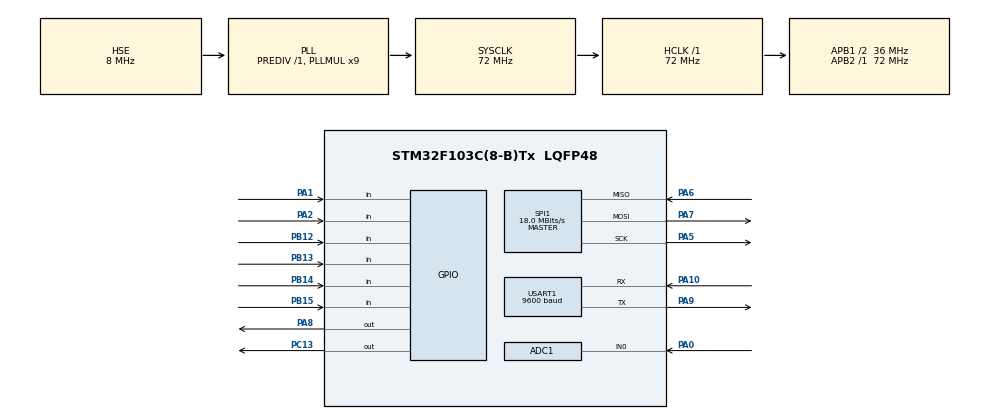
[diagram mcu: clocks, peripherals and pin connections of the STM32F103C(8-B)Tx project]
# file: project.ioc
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ADC1.Channel-0\#ChannelRegularConversion=ADC_CHANNEL_0
ADC1.ContinuousConvMode=ENABLE
ADC1.NbrOfConversionFlag=1
ADC1.Rank-0\#ChannelRegularConversion=1
ADC1.SamplingTime-0\#ChannelRegularConversion=ADC_SAMPLETIME_7CYCLES_5
ADC1.master=1
Dma.Request0=SPI1_TX
Dma.SPI1_TX.0.Direction=DMA_MEMORY_TO_PERIPH
Dma.SPI1_TX.0.Instance=DMA1_Channel3
Dma.SPI1_TX.0.MemDataAlignment=DMA_MDATAALIGN_BYTE
Dma.SPI1_TX.0.MemInc=DMA_MINC_ENABLE
Dma.SPI1_TX.0.Mode=DMA_NORMAL
Dma.SPI1_TX.0.PeriphDataAlignment=DMA_PDATAALIGN_BYTE
Dma.SPI1_TX.0.PeriphInc=DMA_PINC_DISABLE
Dma.SPI1_TX.0.Priority=DMA_PRIORITY_MEDIUM
Mcu.Family=STM32F1
Mcu.Name=STM32F103C(8-B)Tx
Mcu.Package=LQFP48
NVIC.ADC1_2_IRQn=true\:0\:0\:false\:false\:true\:true\:true
NVIC.DMA1_Channel3_IRQn=true\:0\:0\:true\:false\:true\:true\:true
NVIC.FLASH_IRQn=true\:0\:0\:false\:false\:true\:true\:true
NVIC.PriorityGroup=NVIC_PRIORITYGROUP_4
NVIC.RCC_IRQn=true\:0\:0\:false\:false\:true\:true\:false
NVIC.SPI1_IRQn=true\:0\:0\:true\:false\:true\:true\:true
NVIC.TIM2_IRQn=true\:1\:0\:true\:false\:true\:true\:true
NVIC.USART1_IRQn=true\:0\:0\:false\:false\:true\:true\:true
PA0-WKUP.Signal=ADCx_IN0
PA1.Signal=GPIO_Input
PA10.Mode=Asynchronous
PA10.Signal=USART1_RX
PA13.Mode=Serial_Wire
PA13.Signal=SYS_JTMS-SWDIO
PA14.Mode=Serial_Wire
PA14.Signal=SYS_JTCK-SWCLK
PA2.Signal=GPIO_Input
PA5.Mode=Full_Duplex_Master
PA5.Signal=SPI1_SCK
PA6.Mode=Full_Duplex_Master
PA6.Signal=SPI1_MISO
PA7.Mode=Full_Duplex_Master
PA7.Signal=SPI1_MOSI
PA8.Signal=GPIO_Output
PA9.Mode=Asynchronous
PA9.Signal=USART1_TX
PB12.GPIO_PuPd=GPIO_PULLUP
PB12.Signal=GPIO_Input
PB13.GPIO_PuPd=GPIO_PULLUP
PB13.Signal=GPIO_Input
PB14.GPIO_PuPd=GPIO_PULLUP
PB14.Signal=GPIO_Input
PB15.GPIO_PuPd=GPIO_PULLUP
PB15.Signal=GPIO_Input
PC13-TAMPER-RTC.Signal=GPIO_Output
PC14-OSC32_IN.Mode=LSE-External-Oscillator
PC14-OSC32_IN.Signal=RCC_OSC32_IN
PC15-OSC32_OUT.Mode=LSE-External-Oscillator
PC15-OSC32_OUT.Signal=RCC_OSC32_OUT
PD0-OSC_IN.Mode=HSE-External-Oscillator
PD0-OSC_IN.Signal=RCC_OSC_IN
PD1-OSC_OUT.Mode=HSE-External-Oscillator
PD1-OSC_OUT.Signal=RCC_OSC_OUT
ProjectManager.HeapSize=0x200
ProjectManager.StackSize=0x400
ProjectManager.TargetToolchain=MDK-ARM V5
RCC.ADCPresc=RCC_ADCPCLK2_DIV6
RCC.AHBFreq_Value=72000000
RCC.APB1CLKDivider=RCC_HCLK_DIV2
RCC.APB1Freq_Value=36000000
RCC.APB1TimFreq_Value=72000000
RCC.APB2Freq_Value=72000000
RCC.APB2TimFreq_Value=72000000
RCC.EnbaleCSS=true
RCC.HCLKFreq_Value=72000000
RCC.PLLMUL=RCC_PLL_MUL9
RCC.PLLSourceVirtual=RCC_PLLSOURCE_HSE
RCC.SYSCLKFreq_VALUE=72000000
RCC.SYSCLKSource=RCC_SYSCLKSOURCE_PLLCLK
RCC.USBFreq_Value=72000000
SH.ADCx_IN0.0=ADC1_IN0,IN0
SPI1.BaudRatePrescaler=SPI_BAUDRATEPRESCALER_4
SPI1.CalculateBaudRate=18.0 MBits/s
SPI1.Direction=SPI_DIRECTION_2LINES
SPI1.Mode=SPI_MODE_MASTER
SPI1.VirtualType=VM_MASTER
TIM2.Period=15
TIM2.Prescaler=4499
USART1.BaudRate=9600
USART1.VirtualMode=VM_ASYNC
VP_TIM2_VS_ClockSourceINT.Mode=Internal
board=17

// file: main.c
#include "main.h"
#include "stm32f1xx_hal.h"

/* USER CODE BEGIN Includes */

#include "SPI_TFT.h"
#include <stdint.h>
#include <stdio.h>
#include <string.h>
#include <stdlib.h>
#include <math.h>

/* USER CODE END Includes */

ADC_HandleTypeDef hadc1;

SPI_HandleTypeDef hspi1;
DMA_HandleTypeDef hdma_spi1_tx;

TIM_HandleTypeDef htim2;

UART_HandleTypeDef huart1;

/* USER CODE BEGIN PV */
/* Private variables ---------------------------------------------------------*/

uint16_t i = 0;
uint16_t adc = 0;
uint16_t adc_last = 0;
uint16_t B_rate = 0;
uint16_t B_rate_mean = 0;

uint8_t menu=0;
uint8_t save=0;

uint16_t b_color = COLOR(255, 255, 255);

// значения настроек
uint8_t x_scale = 1;
uint8_t y_scale = 20;
uint8_t rate_filter = 160;
uint8_t rate_min = 25;
uint8_t rate_max = 125;

// флэш
#define MY_FLASH_PAGE_ADDR 0x800FC00

typedef struct
  {
    uint8_t Parameter1;    // 1 byte
    uint8_t Parameter2;    // 1 byte
    uint8_t Parameter3;    // 1 byte
    uint8_t Parameter4;    // 1 byte

  } tpSettings;

tpSettings settings;

/* USER CODE END PV */

void SystemClock_Config(void);
void Error_Handler(void);
static void MX_GPIO_Init(void);
static void MX_DMA_Init(void);
static void MX_ADC1_Init(void);
static void MX_SPI1_Init(void);
static void MX_TIM2_Init(void);
static void MX_USART1_UART_Init(void);

/* USER CODE BEGIN PFP */
/* Private function prototypes -----------------------------------------------*/

	// чтение и запись флэш
	//

	void FLASH_ReadSettings(void) {
		//Read settings
    uint32_t *source_addr = (uint32_t *)MY_FLASH_PAGE_ADDR;
    uint32_t *dest_addr = (void *)&settings;

		*dest_addr = *(__IO uint32_t*)source_addr;
	}

	void FLASH_WriteSettings(void) {
		uint32_t *source_addr = (void *)&settings;
		uint32_t *dest_addr = (uint32_t *) MY_FLASH_PAGE_ADDR;
		HAL_FLASH_Unlock();
		FLASH_PageErase(MY_FLASH_PAGE_ADDR);
		HAL_FLASH_Lock();

		HAL_FLASH_Unlock();
		HAL_FLASH_Program_IT(FLASH_TYPEPROGRAM_WORD, (uint32_t)dest_addr, *source_addr);
		HAL_FLASH_Program_IT(FLASH_TYPEPROGRAM_WORD, (uint32_t)dest_addr, *source_addr); // с первого раза не пишет как нужно...
		HAL_FLASH_Lock();

	}

/* USER CODE END PFP */

int main(void)
{

  /* MCU Configuration----------------------------------------------------------*/

  /* Reset of all peripherals, Initializes the Flash interface and the Systick. */
  HAL_Init();

  /* Configure the system clock */
  SystemClock_Config();

  /* Initialize all configured peripherals */
  MX_GPIO_Init();
  MX_DMA_Init();
  MX_ADC1_Init();
  MX_SPI1_Init();
  MX_TIM2_Init();
  MX_USART1_UART_Init();

  /* USER CODE BEGIN 2 */

	// значение настроек, сохраненные во флэше
	FLASH_ReadSettings();
	if (settings.Parameter1==255 && settings.Parameter2==255 && settings.Parameter3==255 && settings.Parameter4==255) // если включается первый раз, то записываем стандартные значения в параметры
	{
		settings.Parameter1 = x_scale;
		settings.Parameter2 = y_scale;
		settings.Parameter3 = rate_filter;
		settings.Parameter4 = 0;

		FLASH_WriteSettings();
	}
	x_scale = settings.Parameter1;
	y_scale = settings.Parameter2;
	rate_filter = settings.Parameter3;

	HAL_TIM_Base_Start_IT(&htim2);

	LCD_Init();
	LCD_setOrientation(ORIENTATION_LANDSCAPE_MIRROR);

	main:

	LCD_Fill(0x0000);

	line(0, 201, 319, 201, 0xFFFF);
	line(0, 0, 0, 199, 0xFFFF);
	STRING_OUT("Пульс", 15, 210, 1, 0xFFFF, 0x0000);

	HAL_GPIO_WritePin(GPIOC, GPIO_PIN_13, GPIO_PIN_SET);

  /* USER CODE END 2 */

  /* Infinite loop */
  while (1)
  {

  /* USER CODE BEGIN 3 */

		if (menu==0) { // основное меню построяения графика
		while(2)
		{

		for (i=1; i<319; i++)
		{

		HAL_ADC_Start(&hadc1);
		HAL_ADC_PollForConversion(&hadc1, 100);
		adc = HAL_ADC_GetValue(&hadc1);
		HAL_ADC_Stop(&hadc1);
		adc = adc/y_scale; // (развертка по У)
		if (adc>200) {adc=200;} // чтобы не вылазило за экран графика

		//line(i+1, 0, i+1, 199, 0x0000);
		LCD_fillRect(i+1, 0, 2, 200, 0x0000); // закрашиваем отрисованный график перед его перерисовкой новым графиком
		line(i, 200-adc_last, i+1, 200-adc, b_color); // строим график линия между двумя соседними точками по оси Х, высота по У в зависимости от значения АЦП
		//line(0, 200-132, 5, 200-132, 0xFFFF);
		adc_last=adc;

		if (B_rate_mean < rate_min || B_rate_mean > rate_max) {b_color = COLOR(255, 0, 0);}  // визуализация цветом отклонения в количестве ударов
		else {b_color = COLOR(255, 255, 255);}

		HAL_Delay(x_scale); // (развертка по Х)

		STRING_NUM_L(B_rate_mean, 3, 125, 210, b_color, 0x0000);

		// детектор электродов
		if (HAL_GPIO_ReadPin(GPIOA, GPIO_PIN_1)<1)
		{
			STRING_OUT("L+", 220, 210, 1, COLOR(0, 255, 0), 0x0000);
		}
		else {STRING_OUT("L+", 220, 210, 1, COLOR(255, 0, 0), 0x0000);}

		if (HAL_GPIO_ReadPin(GPIOA, GPIO_PIN_2)<1)
		{
			STRING_OUT("L-", 260, 210, 1, COLOR(0, 255, 0), 0x0000);
		}
		else {STRING_OUT("L-", 260, 210, 1, COLOR(255, 0, 0), 0x0000);}
		//

		if (HAL_GPIO_ReadPin(GPIOB, GPIO_PIN_15)<1) // переход в меню настроек
		{
			HAL_Delay(45);
			if (HAL_GPIO_ReadPin(GPIOB, GPIO_PIN_15)<1)
			{
				menu++;
				LCD_Fill(0x0000);
				STRING_OUT("Настройки", 65, 10, 1, 0xFFFF, 0x0000);
				STRING_OUT("X шкала", 		10, 90, 1, 0xFFFF, 0x0000);
				STRING_OUT("Y шкала", 		10, 120, 1, 0xFFFF, 0x0000);
				STRING_OUT("Порог счета", 10, 150, 1, 0xFFFF, 0x0000);

				STRING_NUM_L(x_scale, 		3, 230, 90, 0xFFFF, 0x0000);
				STRING_NUM_L(y_scale, 		3, 230, 120, 0xFFFF, 0x0000);
				STRING_NUM_L(rate_filter, 3, 230, 150, 0xFFFF, 0x0000);
				goto settings;
			}
		}

		}

		//STRING_NUM_L(B_rate, 3, 115, 210, 0xFFFF, 0x0000);
	}}

	// меню настроек
		while(2)
		{
			settings:

		if (HAL_GPIO_ReadPin(GPIOB, GPIO_PIN_15)<1)
		{
			HAL_Delay(150);
			if (HAL_GPIO_ReadPin(GPIOB, GPIO_PIN_15)<1)
			{
				menu++;
				STRING_NUM_L(x_scale, 		3, 230, 90, 0xFFFF, 0x0000);
				STRING_NUM_L(y_scale, 		3, 230, 120, 0xFFFF, 0x0000);
				STRING_NUM_L(rate_filter, 3, 230, 150, 0xFFFF, 0x0000);

				if (menu>4)
				{
					if (save==1)
					{
						settings.Parameter1 = x_scale;
						settings.Parameter2 = y_scale;
						settings.Parameter3 = rate_filter;
						settings.Parameter4 = 0;
						FLASH_WriteSettings();
					}
					menu=0;
					goto main;
				}
			}
		}

		if (menu==1)
		{
			if (HAL_GPIO_ReadPin(GPIOB, GPIO_PIN_12)<1)
			{
				HAL_Delay(90);
				if (HAL_GPIO_ReadPin(GPIOB, GPIO_PIN_12)<1)
				{
					x_scale++;
				}}
			if (HAL_GPIO_ReadPin(GPIOB, GPIO_PIN_13)<1)
			{
				HAL_Delay(90);
				if (HAL_GPIO_ReadPin(GPIOB, GPIO_PIN_13)<1)
				{
					x_scale--;
				}}

			STRING_NUM_L(x_scale, 		3, 230, 90, 0x0000, 0xFFFF);
		}

		if (menu==2)
		{
			if (HAL_GPIO_ReadPin(GPIOB, GPIO_PIN_12)<1)
			{
				HAL_Delay(90);
				if (HAL_GPIO_ReadPin(GPIOB, GPIO_PIN_12)<1)
				{
					y_scale++;
				}}
			if (HAL_GPIO_ReadPin(GPIOB, GPIO_PIN_13)<1)
			{
				HAL_Delay(90);
				if (HAL_GPIO_ReadPin(GPIOB, GPIO_PIN_13)<1)
				{
					y_scale--;
				}}

			STRING_NUM_L(y_scale, 		3, 230, 120, 0x0000, 0xFFFF);
		}

		if (menu==3)
		{
			if (HAL_GPIO_ReadPin(GPIOB, GPIO_PIN_12)<1)
			{
				HAL_Delay(90);
				if (HAL_GPIO_ReadPin(GPIOB, GPIO_PIN_12)<1)
				{
					rate_filter++;
				}}
			if (HAL_GPIO_ReadPin(GPIOB, GPIO_PIN_13)<1)
			{
				HAL_Delay(90);
				if (HAL_GPIO_ReadPin(GPIOB, GPIO_PIN_13)<1)
				{
					rate_filter--;
				}}

			STRING_NUM_L(rate_filter, 3, 230, 150, 0x0000, 0xFFFF);
		}

		if (menu==4)
		{
			if (HAL_GPIO_ReadPin(GPIOB, GPIO_PIN_12)<1)
			{
				HAL_Delay(90);
				if (HAL_GPIO_ReadPin(GPIOB, GPIO_PIN_12)<1)
				{
					save=0;

				}}
			if (HAL_GPIO_ReadPin(GPIOB, GPIO_PIN_13)<1)
			{
				HAL_Delay(90);
				if (HAL_GPIO_ReadPin(GPIOB, GPIO_PIN_13)<1)
				{
					save=1;

				}}
			STRING_OUT("Сохранить?", 10, 180, 1, 0xFFFF, 0x0000);
			if (save==0) {STRING_OUT("Нет", 230, 180, 1, 0x0000, 0xFFFF);}
			if (save==1) {STRING_OUT("Да ", 230, 180, 1, 0x0000, 0xFFFF);}
			HAL_Delay(35);

		}

	}

  }
  /* USER CODE END 3 */

}

/** System Clock Configuration
*/
void SystemClock_Config(void)
{

  RCC_OscInitTypeDef RCC_OscInitStruct;
  RCC_ClkInitTypeDef RCC_ClkInitStruct;
  RCC_PeriphCLKInitTypeDef PeriphClkInit;

    /**Initializes the CPU, AHB and APB busses clocks
    */
  RCC_OscInitStruct.OscillatorType = RCC_OSCILLATORTYPE_HSE;
  RCC_OscInitStruct.HSEState = RCC_HSE_ON;
  RCC_OscInitStruct.HSEPredivValue = RCC_HSE_PREDIV_DIV1;
  RCC_OscInitStruct.HSIState = RCC_HSI_ON;
  RCC_OscInitStruct.PLL.PLLState = RCC_PLL_ON;
  RCC_OscInitStruct.PLL.PLLSource = RCC_PLLSOURCE_HSE;
  RCC_OscInitStruct.PLL.PLLMUL = RCC_PLL_MUL9;
  if (HAL_RCC_OscConfig(&RCC_OscInitStruct) != HAL_OK)
  {
    Error_Handler();
  }

    /**Initializes the CPU, AHB and APB busses clocks
    */
  RCC_ClkInitStruct.ClockType = RCC_CLOCKTYPE_HCLK|RCC_CLOCKTYPE_SYSCLK
                              |RCC_CLOCKTYPE_PCLK1|RCC_CLOCKTYPE_PCLK2;
  RCC_ClkInitStruct.SYSCLKSource = RCC_SYSCLKSOURCE_PLLCLK;
  RCC_ClkInitStruct.AHBCLKDivider = RCC_SYSCLK_DIV1;
  RCC_ClkInitStruct.APB1CLKDivider = RCC_HCLK_DIV2;
  RCC_ClkInitStruct.APB2CLKDivider = RCC_HCLK_DIV1;

  if (HAL_RCC_ClockConfig(&RCC_ClkInitStruct, FLASH_LATENCY_2) != HAL_OK)
  {
    Error_Handler();
  }

  PeriphClkInit.PeriphClockSelection = RCC_PERIPHCLK_ADC;
  PeriphClkInit.AdcClockSelection = RCC_ADCPCLK2_DIV6;
  if (HAL_RCCEx_PeriphCLKConfig(&PeriphClkInit) != HAL_OK)
  {
    Error_Handler();
  }

    /**Enables the Clock Security System
    */
  HAL_RCC_EnableCSS();

    /**Configure the Systick interrupt time
    */
  HAL_SYSTICK_Config(HAL_RCC_GetHCLKFreq()/1000);

    /**Configure the Systick
    */
  HAL_SYSTICK_CLKSourceConfig(SYSTICK_CLKSOURCE_HCLK);

  /* SysTick_IRQn interrupt configuration */
  HAL_NVIC_SetPriority(SysTick_IRQn, 0, 0);
}

/* ADC1 init function */
static void MX_ADC1_Init(void)
{

  ADC_ChannelConfTypeDef sConfig;

    /**Common config
    */
  hadc1.Instance = ADC1;
  hadc1.Init.ScanConvMode = ADC_SCAN_DISABLE;
  hadc1.Init.ContinuousConvMode = ENABLE;
  hadc1.Init.DiscontinuousConvMode = DISABLE;
  hadc1.Init.ExternalTrigConv = ADC_SOFTWARE_START;
  hadc1.Init.DataAlign = ADC_DATAALIGN_RIGHT;
  hadc1.Init.NbrOfConversion = 1;
  if (HAL_ADC_Init(&hadc1) != HAL_OK)
  {
    Error_Handler();
  }

    /**Configure Regular Channel
    */
  sConfig.Channel = ADC_CHANNEL_0;
  sConfig.Rank = 1;
  sConfig.SamplingTime = ADC_SAMPLETIME_7CYCLES_5;
  if (HAL_ADC_ConfigChannel(&hadc1, &sConfig) != HAL_OK)
  {
    Error_Handler();
  }

}

/* SPI1 init function */
static void MX_SPI1_Init(void)
{

  hspi1.Instance = SPI1;
  hspi1.Init.Mode = SPI_MODE_MASTER;
  hspi1.Init.Direction = SPI_DIRECTION_2LINES;
  hspi1.Init.DataSize = SPI_DATASIZE_8BIT;
  hspi1.Init.CLKPolarity = SPI_POLARITY_LOW;
  hspi1.Init.CLKPhase = SPI_PHASE_1EDGE;
  hspi1.Init.NSS = SPI_NSS_SOFT;
  hspi1.Init.BaudRatePrescaler = SPI_BAUDRATEPRESCALER_4;
  hspi1.Init.FirstBit = SPI_FIRSTBIT_MSB;
  hspi1.Init.TIMode = SPI_TIMODE_DISABLE;
  hspi1.Init.CRCCalculation = SPI_CRCCALCULATION_DISABLE;
  hspi1.Init.CRCPolynomial = 10;
  if (HAL_SPI_Init(&hspi1) != HAL_OK)
  {
    Error_Handler();
  }

}

/* TIM2 init function */
static void MX_TIM2_Init(void)
{

  TIM_ClockConfigTypeDef sClockSourceConfig;
  TIM_MasterConfigTypeDef sMasterConfig;

  htim2.Instance = TIM2;
  htim2.Init.Prescaler = 4499;
  htim2.Init.CounterMode = TIM_COUNTERMODE_UP;
  htim2.Init.Period = 15;
  htim2.Init.ClockDivision = TIM_CLOCKDIVISION_DIV1;
  if (HAL_TIM_Base_Init(&htim2) != HAL_OK)
  {
    Error_Handler();
  }

  sClockSourceConfig.ClockSource = TIM_CLOCKSOURCE_INTERNAL;
  if (HAL_TIM_ConfigClockSource(&htim2, &sClockSourceConfig) != HAL_OK)
  {
    Error_Handler();
  }

  sMasterConfig.MasterOutputTrigger = TIM_TRGO_RESET;
  sMasterConfig.MasterSlaveMode = TIM_MASTERSLAVEMODE_DISABLE;
  if (HAL_TIMEx_MasterConfigSynchronization(&htim2, &sMasterConfig) != HAL_OK)
  {
    Error_Handler();
  }

}

/* USART1 init function */
static void MX_USART1_UART_Init(void)
{

  huart1.Instance = USART1;
  huart1.Init.BaudRate = 9600;
  huart1.Init.WordLength = UART_WORDLENGTH_8B;
  huart1.Init.StopBits = UART_STOPBITS_1;
  huart1.Init.Parity = UART_PARITY_NONE;
  huart1.Init.Mode = UART_MODE_TX_RX;
  huart1.Init.HwFlowCtl = UART_HWCONTROL_NONE;
  huart1.Init.OverSampling = UART_OVERSAMPLING_16;
  if (HAL_UART_Init(&huart1) != HAL_OK)
  {
    Error_Handler();
  }

}

static void MX_DMA_Init(void)
{
  /* DMA controller clock enable */
  __HAL_RCC_DMA1_CLK_ENABLE();

  /* DMA interrupt init */
  /* DMA1_Channel3_IRQn interrupt configuration */
  HAL_NVIC_SetPriority(DMA1_Channel3_IRQn, 0, 0);
  HAL_NVIC_EnableIRQ(DMA1_Channel3_IRQn);

}

/** Configure pins as
        * Analog
        * Input
        * Output
        * EVENT_OUT
        * EXTI
*/
static void MX_GPIO_Init(void)
{

  GPIO_InitTypeDef GPIO_InitStruct;

  /* GPIO Ports Clock Enable */
  __HAL_RCC_GPIOC_CLK_ENABLE();
  __HAL_RCC_GPIOD_CLK_ENABLE();
  __HAL_RCC_GPIOA_CLK_ENABLE();
  __HAL_RCC_GPIOB_CLK_ENABLE();

  /*Configure GPIO pin Output Level */
  HAL_GPIO_WritePin(GPIOC, GPIO_PIN_13, GPIO_PIN_RESET);

  /*Configure GPIO pin Output Level */
  HAL_GPIO_WritePin(GPIOA, GPIO_PIN_8, GPIO_PIN_RESET);

  /*Configure GPIO pin : PC13 */
  GPIO_InitStruct.Pin = GPIO_PIN_13;
  GPIO_InitStruct.Mode = GPIO_MODE_OUTPUT_PP;
  GPIO_InitStruct.Speed = GPIO_SPEED_FREQ_LOW;
  HAL_GPIO_Init(GPIOC, &GPIO_InitStruct);

  /*Configure GPIO pins : PA1 PA2 */
  GPIO_InitStruct.Pin = GPIO_PIN_1|GPIO_PIN_2;
  GPIO_InitStruct.Mode = GPIO_MODE_INPUT;
  GPIO_InitStruct.Pull = GPIO_NOPULL;
  HAL_GPIO_Init(GPIOA, &GPIO_InitStruct);

  /*Configure GPIO pins : PB12 PB13 PB14 PB15 */
  GPIO_InitStruct.Pin = GPIO_PIN_12|GPIO_PIN_13|GPIO_PIN_14|GPIO_PIN_15;
  GPIO_InitStruct.Mode = GPIO_MODE_INPUT;
  GPIO_InitStruct.Pull = GPIO_PULLUP;
  HAL_GPIO_Init(GPIOB, &GPIO_InitStruct);

  /*Configure GPIO pin : PA8 */
  GPIO_InitStruct.Pin = GPIO_PIN_8;
  GPIO_InitStruct.Mode = GPIO_MODE_OUTPUT_PP;
  GPIO_InitStruct.Speed = GPIO_SPEED_FREQ_LOW;
  HAL_GPIO_Init(GPIOA, &GPIO_InitStruct);

}

void Error_Handler(void)
{
  while(1)
  {
  }
}
